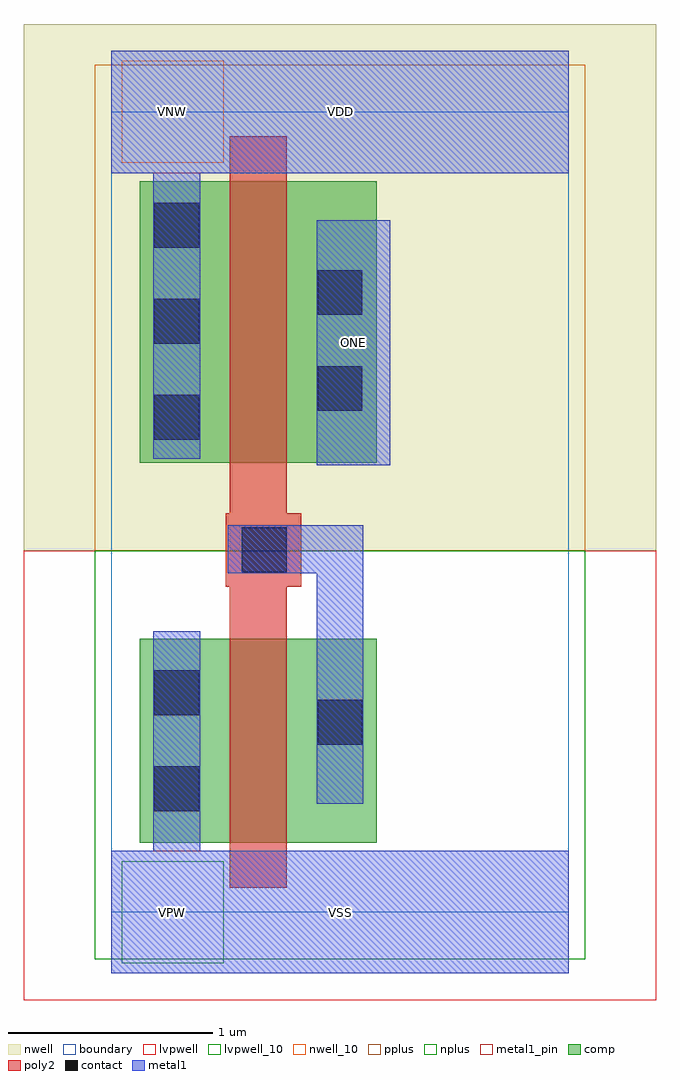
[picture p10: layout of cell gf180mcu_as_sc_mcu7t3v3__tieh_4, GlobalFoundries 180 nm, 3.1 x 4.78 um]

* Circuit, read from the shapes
.subckt gf180mcu_as_sc_mcu7t3v3__tieh_4 ONE VDD VNW VSS
XM1 n1 n1 VSS VSUBS nfet_03v3 w=1u l=0.28u
XM2 ONE n1 VDD VNW pfet_03v3 w=1.38u l=0.28u
.ends

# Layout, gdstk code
import gdstk
lib = gdstk.Library(unit=1e-6, precision=1e-09)
def R(c, l, rs):  # rectangles x0, y0, x1, y1
    for r in rs: c.add(gdstk.rectangle(r[:2], r[2:], *l))
def A(c, l, x, y, w, h, nx, ny, dx, dy):  # array of equal rectangles
    R(c, l, [(x+i*dx, y+j*dy, x+i*dx+w, y+j*dy+h) for i in range(nx) for j in range(ny)])
boundary = (0, 0)
nwell = (21, 0)
nwell_10 = (21, 10)
comp = (22, 0)
poly2 = (30, 0)
pplus = (31, 0)
nplus = (32, 0)
contact = (33, 0)
metal1 = (34, 0)
metal1_pin = (34, 10)
lvpwell = (204, 0)
lvpwell_10 = (204, 10)

gf180mcu_as_sc_mcu7t3v3_ = lib.new_cell('gf180mcu_as_sc_mcu7t3v3__tieh_4')
R(gf180mcu_as_sc_mcu7t3v3_, boundary, [(0,0,2.24,3.92)])
R(gf180mcu_as_sc_mcu7t3v3_, nwell, [(-0.43,1.77,2.67,4.35)])
R(gf180mcu_as_sc_mcu7t3v3_, nwell_10, [(0.05,3.67,0.55,4.17)])
R(gf180mcu_as_sc_mcu7t3v3_, comp, [(0.14,0.34,1.3,1.34), (0.14,2.2,1.3,3.58)])
R(gf180mcu_as_sc_mcu7t3v3_, poly2, [(0.58,0.12,0.86,1.595), (0.56,1.595,0.93,1.955), (0.58,1.955,0.86,3.8)])
R(gf180mcu_as_sc_mcu7t3v3_, pplus, [(-0.08,1.77,2.32,4.15)])
R(gf180mcu_as_sc_mcu7t3v3_, nplus, [(-0.08,-0.23,2.32,1.77)])
A(gf180mcu_as_sc_mcu7t3v3_, contact, 0.21, 2.315, 0.22, 0.22, 1, 3, 0, 0.47)
R(gf180mcu_as_sc_mcu7t3v3_, contact, [(0.21,0.495,0.43,0.715), (1.01,0.82,1.23,1.04), (0.21,0.965,0.43,1.185), (0.64,1.665,0.86,1.885), (1.01,2.455,1.23,2.675), (1.01,2.925,1.23,3.145)])
R(gf180mcu_as_sc_mcu7t3v3_, metal1, [(0,-0.3,2.24,0.3), (0.205,0.3,0.435,1.375), (1.005,0.53,1.235,1.66), (0.57,1.66,1.235,1.895), (1.005,2.19,1.365,3.39), (0.205,2.22,0.435,3.62), (0,3.62,2.24,4.22)])
R(gf180mcu_as_sc_mcu7t3v3_, metal1_pin, [(0,-0.3,2.24,0.3), (1.005,2.19,1.365,3.39), (0,3.62,2.24,4.22)])
R(gf180mcu_as_sc_mcu7t3v3_, lvpwell, [(-0.43,-0.43,2.67,1.77)])
R(gf180mcu_as_sc_mcu7t3v3_, lvpwell_10, [(0.05,-0.25,0.55,0.25)])
gf180mcu_as_sc_mcu7t3v3_.add(gdstk.Label('VDD', (1.12,3.92), layer=34, texttype=10))
gf180mcu_as_sc_mcu7t3v3_.add(gdstk.Label('VSS', (1.12,0), layer=34, texttype=10))
gf180mcu_as_sc_mcu7t3v3_.add(gdstk.Label('ONE', (1.185,2.79), layer=34, texttype=10))
gf180mcu_as_sc_mcu7t3v3_.add(gdstk.Label('VNW', (0.3,3.92), layer=21, texttype=10))
gf180mcu_as_sc_mcu7t3v3_.add(gdstk.Label('VPW', (0.3,0), layer=204, texttype=10))

lib.write_gds('gf180mcu_as_sc_mcu7t3v3__tieh_4.gds')
